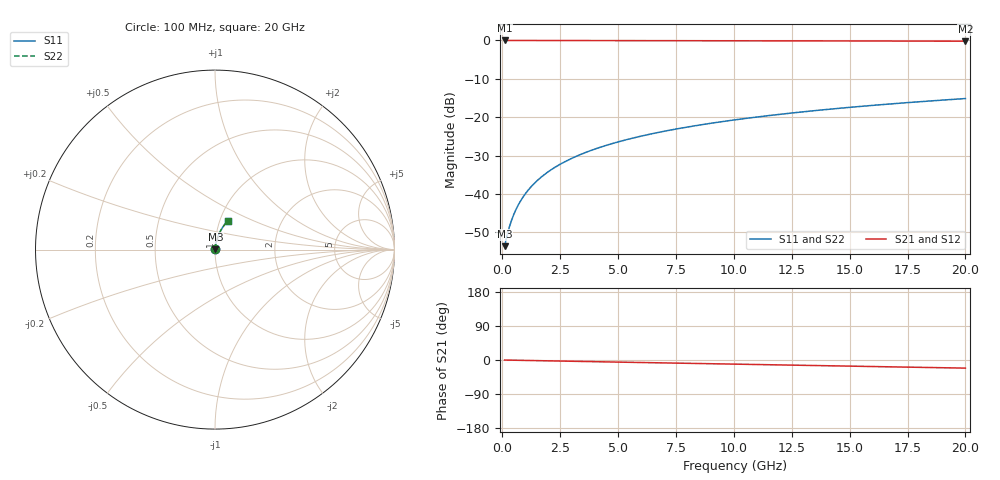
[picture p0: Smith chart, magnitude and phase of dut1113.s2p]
! Touchstone file exported from HFSS 2026.1.0
!  File:  C:/ffzhzh/LocalFiles/Ansys_Project_Files/temp_train_BSMRDL_1113_1783175006_55132.aedt
!  Generated:  10:24:39 PM Jul  4, 2026
!  Design:  BSMRDL
!  Project:  temp_train_BSMRDL_1113_1783175006_55132
! Variables:
!  h_bsmrdl = 4.8um
!  h_ox = 20um
!  h_rdl = 5um
!  h_sub = 80um
!  h_tmrdl = 5um
!  h_tsv = 80um
!  h_via = 3um
!  l_bsmrdl = 325.72um
!  l_sub = 725.72um
!  l_tmrdl = 200um
!  m_sub = 200um
!  pitch = 29.17um
!  r_tsv = 6um
!  s_tmrdl = 10um
!  w_bsmrdl = 14.4um
!  w_sub = 500um
!  w_tmrdl = 12um
!  x_tsv_center1 = 206um
!  x_tsv_center2 = 546.12um
!  x_tsv_center3 = 758.12um
!  x_tsv_center4 = 1098.24um
!  x_tsv_center5 = 1310.24um
!  x_tsv_center6 = 1650.36um
# GHz S MA R 50.000000
! Terminal data exported
! Port[1] = BSM_RDL1_1_T1
! Port[2] = BSM_RDL1_1_T2
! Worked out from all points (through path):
!   200 points, 100 MHz to 20 GHz, reference 50 ohm
!   highest |S21| = -0.02 dB at 100 MHz (marker M1); lowest = -0.2 dB at 20 GHz (marker M2)
!   group delay of S21, straight-line fit = 2.97 ps
!   lowest |S11| = -53.6 dB at 100 MHz (marker M3), VSWR 1.00, Z = 50.2 + j0.109 ohm
!   |S11| at or under -10 dB: start of sweep to end of sweep
!   |S22| runs from -53.6 to -15.1 dB; largest |S21 - S12| = 5.4e-15
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0.1  0.002097 31.2  0.9982 -0.1  0.9982 -0.1  0.002097 31.2
! Gamma 0 0 0 0
! Port Impedance 50 0 50 0
0.2  0.002834 48.5  0.9981 -0.2  0.9981 -0.2  0.002834 48.5
0.3  0.003682 57.7  0.998 -0.3  0.998 -0.3  0.003682 57.7
0.4  0.004563 63.4  0.998 -0.5  0.998 -0.5  0.004563 63.4
0.5  0.005463 67.3  0.9979 -0.6  0.9979 -0.6  0.005463 67.3
0.6  0.006377 70.2  0.9979 -0.7  0.9979 -0.7  0.006377 70.2
0.8  0.008236 74.0  0.9978 -0.9  0.9978 -0.9  0.008236 74.0
1  0.01012 76.3  0.9977 -1.1  0.9977 -1.1  0.01012 76.3
1.2  0.01202 77.8  0.9976 -1.4  0.9976 -1.4  0.01202 77.8
1.4  0.01393 78.8  0.9976 -1.6  0.9976 -1.6  0.01393 78.8
1.7  0.0168 79.8  0.9974 -1.9  0.9974 -1.9  0.0168 79.8
2.2  0.02158 80.6  0.9972 -2.5  0.9972 -2.5  0.02158 80.6
2.8  0.02728 80.8  0.9968 -3.1  0.9968 -3.1  0.02728 80.8
3.5  0.03386 80.7  0.9962 -3.9  0.9962 -3.9  0.03386 80.7
4.2  0.04037 80.3  0.9956 -4.7  0.9956 -4.7  0.04037 80.3
5  0.04771 79.7  0.9949 -5.5  0.9949 -5.5  0.04771 79.7
6.8  0.06394 78.2  0.9932 -7.5  0.9932 -7.5  0.06394 78.2
8.3  0.07722 76.9  0.9916 -9.1  0.9916 -9.1  0.07722 76.9
10.1  0.0929 75.2  0.9896 -11.0  0.9896 -11.0  0.0929 75.2
13.4  0.1211 72.2  0.9856 -14.5  0.9856 -14.5  0.1211 72.2
16.7  0.1484 69.0  0.9811 -18.0  0.9811 -18.0  0.1484 69.0
20  0.1749 65.8  0.9761 -21.4  0.9761 -21.4  0.1749 65.8
